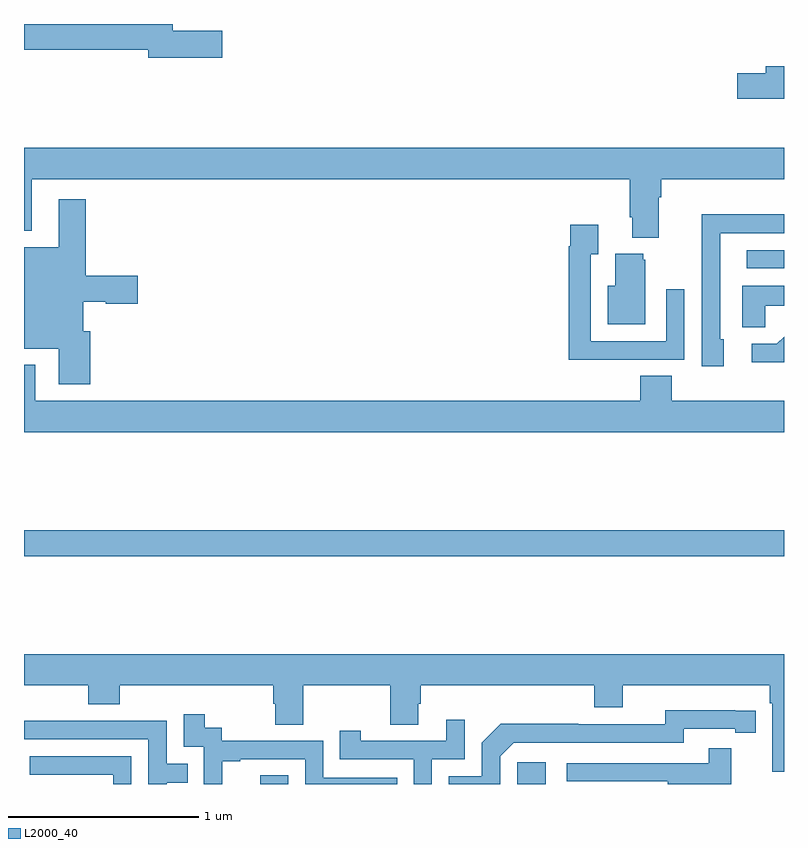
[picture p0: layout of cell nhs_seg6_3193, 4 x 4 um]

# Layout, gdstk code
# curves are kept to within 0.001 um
import gdstk
lib = gdstk.Library(unit=1e-6, precision=1e-09)
def R(c, l, rs):  # rectangles x0, y0, x1, y1
    for r in rs: c.add(gdstk.rectangle(r[:2], r[2:], *l))
def P(c, l, *ps):  # polygons
    for p in ps: c.add(gdstk.Polygon(p, *l))
L2000_40 = (2000, 40)

nhs_seg6_3193 = lib.new_cell('nhs_seg6_3193')
R(nhs_seg6_3193, L2000_40, [(300.243,929.5,300.39,929.545), (301.596,929.5,301.747,929.614), (299,930.7,303,930.836), (302.805,932.214,303,932.31)])
P(nhs_seg6_3193, L2000_40, [(300.043,933.464),(299.782,933.464),(299.782,933.5),(299,933.5),(299,933.364),(299.654,933.364),(299.654,933.322),(300.043,933.322)],
  [(303,933.278),(302.903,933.278),(302.903,933.242),(302.754,933.242),(302.754,933.107),(303,933.107)],
  [(302.341,932.588),(302.354,932.588),(302.354,932.684),(303,932.684),(303,932.848),(299,932.848),(299,932.411),(299.041,932.411),(299.041,932.684),(302.189,932.684),(302.189,932.482),(302.201,932.482),(302.201,932.375),(302.341,932.375)],
  [(299.348,931.884),(299.311,931.884),(299.311,932.039),(299.431,932.039),(299.431,932.027),(299.599,932.027),(299.599,932.174),(299.324,932.174),(299.324,932.578),(299.183,932.578),(299.183,932.326),(299,932.326),(299,931.791),(299.183,931.791),(299.183,931.605),(299.348,931.605)],
  [(302.683,931.842),(302.664,931.842),(302.664,932.4),(303,932.4),(303,932.498),(302.566,932.498),(302.566,932.191),(302.568,932.191),(302.568,931.698),(302.683,931.698)],
  [(302.159,931.734),(302.475,931.734),(302.475,932.104),(302.379,932.104),(302.379,931.83),(301.983,931.83),(301.983,932.287),(302.023,932.287),(302.023,932.443),(301.875,932.443),(301.875,932.33),(301.867,932.33),(301.867,931.733),(302.159,931.733)],
  [(302.269,932.259),(302.258,932.259),(302.258,932.29),(302.111,932.29),(302.111,932.122),(302.072,932.122),(302.072,931.919),(302.269,931.919)],
  [(302.901,932.018),(303,932.018),(303,932.122),(302.78,932.122),(302.78,931.903),(302.901,931.903)],
  [(303,931.855),(302.963,931.818),(302.829,931.818),(302.829,931.721),(303,931.721)],
  [(303,931.516),(302.408,931.516),(302.408,931.649),(302.243,931.649),(302.243,931.516),(299.059,931.516),(299.059,931.706),(299,931.706),(299,931.352),(303,931.352)],
  [(303,930.184),(299,930.184),(299,930.02),(299.339,930.02),(299.339,929.921),(299.504,929.921),(299.504,930.02),(300.311,930.02),(300.311,929.922),(300.323,929.922),(300.323,929.812),(300.471,929.812),(300.471,930.02),(300.928,930.02),(300.928,929.812),(301.075,929.812),(301.075,929.922),(301.088,929.922),(301.088,930.02),(302,930.02),(302,929.903),(302.152,929.903),(302.152,930.02),(302.924,930.02),(302.924,929.924),(302.937,929.924),(302.937,929.565),(303,929.565)],
  [(301.506,929.646),(301.578,929.718),(302.472,929.718),(302.472,929.79),(302.744,929.79),(302.744,929.77),(302.852,929.77),(302.852,929.886),(302.376,929.887),(302.376,929.814),(301.916,929.814),(301.916,929.816),(301.508,929.816),(301.41,929.718),(301.41,929.541),(301.236,929.541),(301.236,929.5),(301.506,929.5)],
  [(300.044,929.619),(300.139,929.619),(300.139,929.631),(300.48,929.631),(300.48,929.5),(300.965,929.5),(300.965,929.532),(300.576,929.532),(300.576,929.727),(300.042,929.727),(300.042,929.796),(299.95,929.796),(299.95,929.866),(299.841,929.866),(299.841,929.697),(299.946,929.697),(299.946,929.5),(300.044,929.5)],
  [(301.146,929.631),(301.32,929.631),(301.32,929.839),(301.223,929.839),(301.223,929.727),(300.772,929.727),(300.772,929.779),(300.661,929.779),(300.661,929.631),(301.05,929.631),(301.05,929.5),(301.146,929.5)],
  [(299.751,929.506),(299.861,929.506),(299.861,929.607),(299.751,929.607),(299.751,929.832),(299.255,929.832),(299.255,929.834),(299,929.834),(299,929.736),(299.655,929.736),(299.655,929.5),(299.751,929.5)],
  [(302.723,929.689),(302.605,929.689),(302.605,929.61),(301.857,929.61),(301.857,929.514),(302.389,929.514),(302.389,929.5),(302.723,929.5)],
  [(299.565,929.646),(299.031,929.646),(299.031,929.55),(299.469,929.55),(299.469,929.5),(299.565,929.5)])

lib.write_gds('nhs_seg6_3193.gds')
